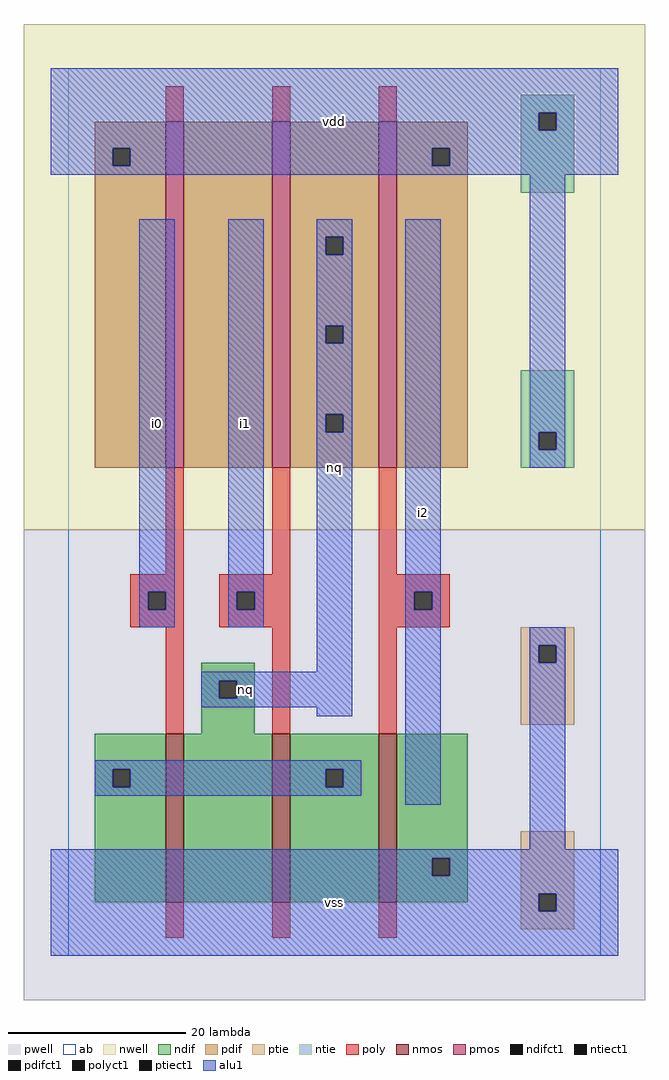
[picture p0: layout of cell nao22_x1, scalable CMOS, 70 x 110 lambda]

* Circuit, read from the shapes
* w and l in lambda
.subckt nao22_x1 i0 i1 i2 nq vdd vss
M1 nq i0 n1 vss nfet w=19 l=2
M2 n1 i1 nq vss nfet w=19 l=2
M3 vss i2 n1 vss nfet w=19 l=2
M4 n2 i0 vdd vdd pfet w=39 l=2
M5 nq i1 n2 vdd pfet w=39 l=2
M6 vdd i2 nq vdd pfet w=39 l=2
.ends

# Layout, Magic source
magic
tech scmos
<< ab >>
rect 0 0 60 100
<< nwell >>
rect -5 48 65 105
<< pwell >>
rect -5 -5 65 48
<< poly >>
rect 11 94 13 98
rect 23 94 25 98
rect 35 94 37 98
rect 11 43 13 55
rect 23 43 25 55
rect 7 41 13 43
rect 7 39 9 41
rect 11 39 13 41
rect 7 37 13 39
rect 17 41 25 43
rect 17 39 19 41
rect 21 39 25 41
rect 17 37 25 39
rect 11 25 13 37
rect 23 25 25 37
rect 35 43 37 55
rect 35 41 43 43
rect 35 39 39 41
rect 41 39 43 41
rect 35 37 43 39
rect 35 25 37 37
rect 11 2 13 6
rect 23 2 25 6
rect 35 2 37 6
<< ndif >>
rect 15 31 21 33
rect 15 29 17 31
rect 19 29 21 31
rect 15 25 21 29
rect 3 21 11 25
rect 3 19 5 21
rect 7 19 11 21
rect 3 6 11 19
rect 13 6 23 25
rect 25 21 35 25
rect 25 19 29 21
rect 31 19 35 21
rect 25 6 35 19
rect 37 11 45 25
rect 37 9 41 11
rect 43 9 45 11
rect 37 6 45 9
<< pdif >>
rect 3 91 11 94
rect 3 89 5 91
rect 7 89 11 91
rect 3 55 11 89
rect 13 55 23 94
rect 25 81 35 94
rect 25 79 29 81
rect 31 79 35 81
rect 25 71 35 79
rect 25 69 29 71
rect 31 69 35 71
rect 25 61 35 69
rect 25 59 29 61
rect 31 59 35 61
rect 25 55 35 59
rect 37 91 45 94
rect 37 89 41 91
rect 43 89 45 91
rect 37 55 45 89
<< alu1 >>
rect -2 95 62 100
rect -2 93 53 95
rect 55 93 62 95
rect -2 91 62 93
rect -2 89 5 91
rect 7 89 41 91
rect 43 89 62 91
rect -2 88 62 89
rect 8 41 12 83
rect 8 39 9 41
rect 11 39 12 41
rect 8 37 12 39
rect 18 41 22 83
rect 18 39 19 41
rect 21 39 22 41
rect 18 37 22 39
rect 28 81 32 83
rect 28 79 29 81
rect 31 79 32 81
rect 28 71 32 79
rect 28 69 29 71
rect 31 69 32 71
rect 28 61 32 69
rect 28 59 29 61
rect 31 59 32 61
rect 28 32 32 59
rect 15 31 32 32
rect 15 29 17 31
rect 19 29 32 31
rect 15 28 32 29
rect 28 27 32 28
rect 38 41 42 83
rect 52 59 56 88
rect 52 57 53 59
rect 55 57 56 59
rect 52 55 56 57
rect 38 39 39 41
rect 41 39 42 41
rect 3 21 33 22
rect 3 19 5 21
rect 7 19 29 21
rect 31 19 33 21
rect 3 18 33 19
rect 38 17 42 39
rect 52 35 56 37
rect 52 33 53 35
rect 55 33 56 35
rect 52 12 56 33
rect -2 11 62 12
rect -2 9 41 11
rect 43 9 62 11
rect -2 7 62 9
rect -2 5 53 7
rect 55 5 62 7
rect -2 0 62 5
<< ptie >>
rect 51 35 57 37
rect 51 33 53 35
rect 55 33 57 35
rect 51 26 57 33
rect 51 7 57 14
rect 51 5 53 7
rect 55 5 57 7
rect 51 3 57 5
<< ntie >>
rect 51 95 57 97
rect 51 93 53 95
rect 55 93 57 95
rect 51 86 57 93
rect 51 59 57 66
rect 51 57 53 59
rect 55 57 57 59
rect 51 55 57 57
<< nmos >>
rect 11 6 13 25
rect 23 6 25 25
rect 35 6 37 25
<< pmos >>
rect 11 55 13 94
rect 23 55 25 94
rect 35 55 37 94
<< polyct1 >>
rect 9 39 11 41
rect 19 39 21 41
rect 39 39 41 41
<< ndifct1 >>
rect 17 29 19 31
rect 5 19 7 21
rect 29 19 31 21
rect 41 9 43 11
<< ntiect1 >>
rect 53 93 55 95
rect 53 57 55 59
<< ptiect1 >>
rect 53 33 55 35
rect 53 5 55 7
<< pdifct1 >>
rect 5 89 7 91
rect 29 79 31 81
rect 29 69 31 71
rect 29 59 31 61
rect 41 89 43 91
<< labels >>
rlabel alu1 10 60 10 60 6 i0
rlabel alu1 20 30 20 30 6 nq
rlabel alu1 20 60 20 60 6 i1
rlabel alu1 30 6 30 6 6 vss
rlabel alu1 40 50 40 50 6 i2
rlabel alu1 30 55 30 55 6 nq
rlabel alu1 30 94 30 94 6 vdd
<< end >>
